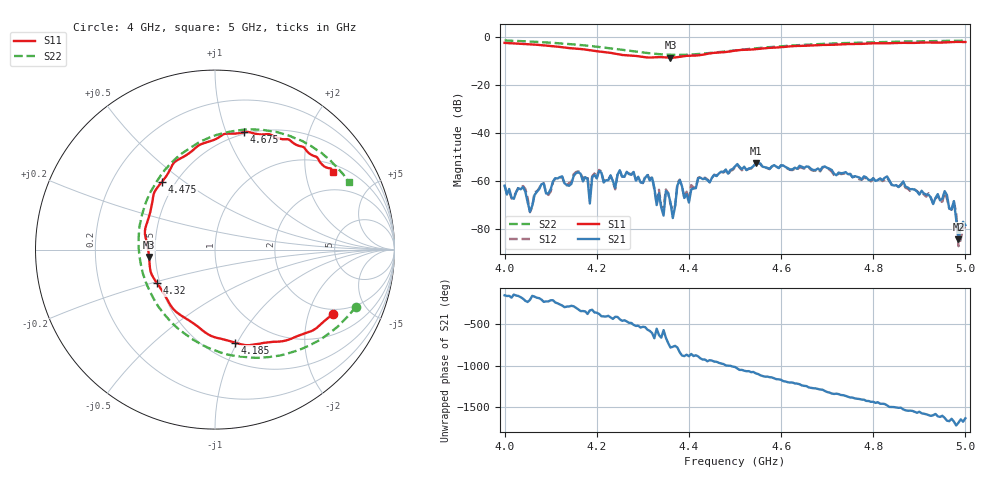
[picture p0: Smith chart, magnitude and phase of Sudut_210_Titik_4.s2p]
# Hz S RI R 50
! CMT, C1220, 16058040, 17.2.0/1
! Date: 15/08/2018 12:30:51
! Data: Format (Calibration Info)
! Freq  S11: Re/Im (F2)  S21: Re/Im (F2)  S12: Re/Im (F2)  S22: Re/Im (F2)
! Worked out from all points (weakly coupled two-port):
!   201 points, 4 GHz to 5 GHz, reference 50 ohm
!   highest |S21| = -52.63 dB at 4.545 GHz (marker M1); lowest = -84.4 dB at 4.985 GHz (marker M2)
!   lowest |S11| = -8.7 dB at 4.36 GHz (marker M3), VSWR 2.17, Z = 23.1 - j2.18 ohm
!   |S11| at or under -10 dB: nowhere
!   |S22| runs from -7.5 to -1.5 dB; largest |S21 - S12| = 0.00016
!   S11 on the Smith chart (normalised r, x): 4 GHz: 1.79, -2.93; 4.185 GHz: 0.68, -0.98; 4.32 GHz: 0.48, -0.21; 4.475 GHz: 0.42, +0.41; 4.675 GHz: 0.48, +1.16; 5 GHz: 1.27, +2.84
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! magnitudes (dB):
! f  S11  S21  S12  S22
! 4 GHz  -2.5  -62.1  -62.0  -1.5
! 4.04 GHz  -2.9  -62.7  -62.2  -1.8
! 4.055 GHz  -3.0  -72.9  -73.2  -1.9
! 4.08 GHz  -3.4  -61.4  -61.2  -2.2
! 4.17 GHz  -5.1  -60.3  -59.6  -3.5
! 4.185 GHz  -5.5  -69.5  -67.0  -3.7
! 4.205 GHz  -6.1  -55.9  -55.5  -4.2
! 4.32 GHz  -8.6  -58.7  -58.5  -6.9
! 4.335 GHz  -8.4  -65.2  -63.8  -7.2
! 4.36 GHz  -8.7  -69.1  -69.9  -7.5
! 4.365 GHz  -8.6  -75.6  -72.0  -7.5
! 4.38 GHz  -8.3  -59.8  -59.6  -7.5
! 4.4 GHz  -7.8  -69.1  -68.3  -7.4
! 4.475 GHz  -6.4  -56.3  -56.6  -6.1
! 4.5 GHz  -5.7  -54.1  -54.5  -5.6
! 4.545 GHz  -5.1  -52.6  -52.8  -4.8
! 4.67 GHz  -3.5  -55.5  -55.9  -3.1
! 4.675 GHz  -3.4  -55.5  -55.8  -3.0
! 4.835 GHz  -2.6  -59.8  -60.2  -2.0
! 4.955 GHz  -2.3  -64.4  -65.1  -1.7
! 4.985 GHz  -2.1  -84.4  -87.3  -1.6
! 5 GHz  -2.1  -78.6  -79.9  -1.6
